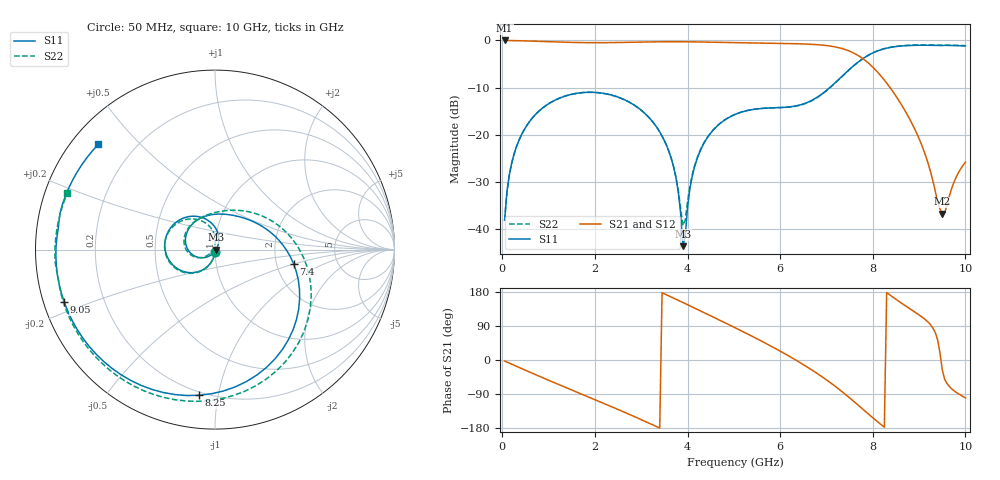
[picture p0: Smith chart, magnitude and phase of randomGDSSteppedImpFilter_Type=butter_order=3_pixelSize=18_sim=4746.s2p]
! freq	dB(S11)	phase(S11)	dB(S12)	phase(S12)
!  dB(S21)	phase(S21)	dB(S22)	phase(S22)
!S-par simulation data
#  GHz  S  DB  R 50
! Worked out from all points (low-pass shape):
!   200 points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, 50 MHz to 10 GHz, reference 50 ohm
!   highest |S21| = 0.00 dB at 50 MHz (marker M1); lowest = -36.7 dB at 9.5 GHz (marker M2)
!   |S21| within 3 dB of the highest: start of sweep to 7.651 GHz
!   lowest |S11| = -43.6 dB at 3.9 GHz (marker M3), VSWR 1.01, Z = 50.7 + j0.0181 ohm
!   |S11| at or under -10 dB: start of sweep to 7.072 GHz
!   |S22| runs from -39.3 to -1.0 dB; largest |S21 - S12| = 0
!   S11 on the Smith chart (normalised r, x): 50 MHz: 1.00, -0.02; 7.4 GHz: 2.49, -0.50; 8.25 GHz: 0.18, -0.88; 9.05 GHz: 0.06, -0.17; 10 GHz: 0.08, +0.38
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0.05  -38.13 -92.6  -0.00 -2.7  -0.00 -2.7  -38.12 -92.5
0.2  -26.14 -101.3  -0.03 -10.9  -0.03 -10.9  -26.14 -101.0
0.5  -18.49 -118.0  -0.10 -27.0  -0.10 -27.0  -18.49 -117.2
1.15  -12.61 -152.9  -0.32 -61.2  -0.32 -61.2  -12.61 -150.9
1.75  -11.04 175.8  -0.46 -91.9  -0.46 -91.9  -11.04 179.1
2.55  -12.20 133.4  -0.43 -133.2  -0.43 -133.2  -12.21 139.3
3.4  -19.41 84.5  -0.28 -179.6  -0.28 -179.6  -19.42 97.3
3.75  -29.13 58.4  -0.26 160.4  -0.26 160.4  -28.96 89.2
3.9  -43.63 1.6  -0.27 151.7  -0.27 151.7  -39.25 136.8
4.05  -31.54 -119.9  -0.29 143.0  -0.29 143.0  -30.95 -145.3
4.25  -23.96 -138.5  -0.32 131.3  -0.32 131.3  -23.82 -144.4
5.05  -15.60 169.0  -0.50 83.8  -0.50 83.8  -15.57 176.2
6  -14.24 103.7  -0.63 23.5  -0.63 23.5  -14.26 120.4
6.7  -12.63 50.0  -0.83 -27.5  -0.83 -27.5  -12.70 70.6
7.1  -9.76 17.0  -1.22 -61.3  -1.22 -61.3  -9.82 35.4
7.4  -7.02 -10.4  -1.91 -89.8  -1.91 -89.8  -7.05 5.7
7.8  -3.77 -50.9  -3.96 -131.4  -3.96 -131.4  -3.76 -37.0
8.25  -1.76 -96.2  -8.41 -177.2  -8.41 -177.2  -1.73 -82.9
8.35  -1.53 -105.5  -9.69 173.5  -9.69 173.5  -1.50 -92.0
9.05  -1.02 -160.8  -22.02 114.6  -22.02 114.6  -0.96 -145.2
9.5  -1.07 169.8  -36.74 -25.4  -36.74 -25.4  -1.01 -172.2
10  -1.15 138.0  -25.82 -99.9  -25.82 -99.9  -1.10 159.2
